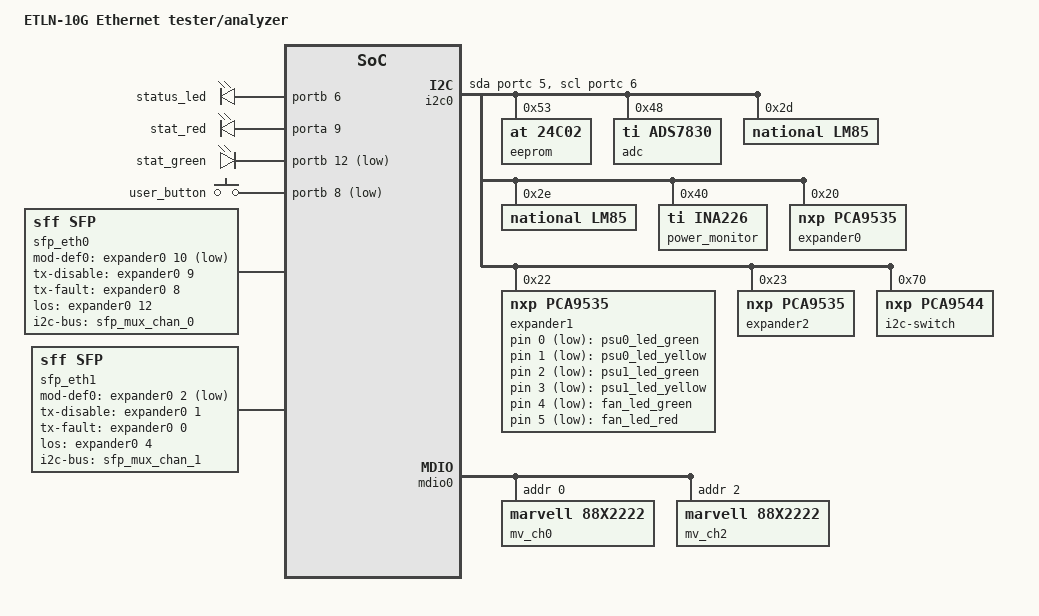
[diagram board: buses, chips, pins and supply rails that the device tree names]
/*
 * Copyright Altera Corporation (C) 2012,2014. All rights reserved.
 *
 * This program is free software; you can redistribute it and/or modify
 * it under the terms and conditions of the GNU General Public License,
 * version 2, as published by the Free Software Foundation.
 *
 * This program is distributed in the hope it will be useful, but WITHOUT
 * ANY WARRANTY; without even the implied warranty of MERCHANTABILITY or
 * FITNESS FOR A PARTICULAR PURPOSE.  See the GNU General Public License for
 * more details.
 *
 * You should have received a copy of the GNU General Public License along with
 * this program.  If not, see <http://www.gnu.org/licenses/>.
 */

#include "socfpga_cyclone5_stcmtk.dtsi"

/ {
	model = "ETLN-10G Ethernet tester/analyzer";

	cpu-gpio {
		compatible = "linux,gpio-exporter";
		status = "okay";
		exported-gpios = <&portb 19 GPIO_ACTIVE_HIGH>,
			<&portb 27 GPIO_ACTIVE_HIGH>,
			<&portb 22 GPIO_ACTIVE_HIGH>,
			<&portb 24 GPIO_ACTIVE_HIGH>;
		exported-gpio-names = "sfpp-pwr-en",
			"devinfo-eeprom-write-protect",
			"smbus-alert",
			"ext-power-alarm";
		exported-gpio-directions = "high",
			"high",
			"in",
			"in";
	};

	soc {
		ethernet@ff702000 {
			phy-mode = "rgmii-id";
		};

		i2c0: i2c@ffc04000 {
			scl-gpios = <&portc 6 GPIO_ACTIVE_HIGH>;
			sda-gpios = <&portc 5 GPIO_ACTIVE_HIGH>;

			eeprom@53 {
				compatible = "at,24c02";
				reg = <0x53>;
				status = "okay";
			};

			adc@48 {
				compatible = "ti,ads7830";
				reg = <0x48>;
				status = "okay";
			};

			lm85@2d {
				compatible = "national,lm85";
				reg = <0x2d>;
			};

			lm85@2e {
				compatible = "national,lm85";
				reg = <0x2e>;
			};

			power_monitor@40 {
				compatible = "ti,ina226";
				reg = <0x40>;
				shunt-resistor = <20000>;
			};

			expander0: pca9535@20 {
				compatible = "nxp,pca9535";
				gpio-controller;
				#gpio-cells = <2>;
				reg = <0x20>;
				pinctrl-names = "default";
				/*
				interrupt-parent = <&portb>;
				interrupts = <23 IRQ_TYPE_LEVEL_LOW>;
				interrupt-controller;
				#interrupt-cells = <2>;
				*/
			};

			expander1: pca9535@22 {
				compatible = "nxp,pca9535";
				gpio-controller;
				#gpio-cells = <2>;
				reg = <0x22>;
				pinctrl-names = "default";
			};

			expander2: pca9535@23 {
				compatible = "nxp,pca9535";
				gpio-controller;
				#gpio-cells = <2>;
				reg = <0x23>;
				pinctrl-names = "default";
			};

			i2c-switch@70 {
				compatible = "nxp,pca9544";
				#address-cells = <0x1>;
				#size-cells = <0x0>;
				reg = <0x70>;
				i2c-mux-idle-disconnect;

				/* The following two nodes describe I2C busses
				* located behind the MUX on channels 0 and 1
				* (indexed from 0).
				*/
				sfp_mux_chan_0: i2c@0 {
					#address-cells = <0x1>;
					#size-cells = <0x0>;
					reg = <0>;
				};

				sfp_mux_chan_1: i2c@1 {
					#address-cells = <0x1>;
					#size-cells = <0x0>;
					reg = <1>;
				};

				/* The following two nodes describe I2C mux
				* channels 2 and 3 (indexed from 0) that have
				* no devices connected to them.
				*
				* It would be great to disable them at all so
				* that they would not appear in sysfs but we
				* couldn't find an easy and obvious way to
				* achieve this.
				*/
				sfp_mux_chan_2: i2c@2 {
					#address-cells = <1>;
					#size-cells = <0>;
					reg = <2>;
				};
				sfp_mux_chan_3: i2c@3 {
					#address-cells = <1>;
					#size-cells = <0>;
					reg = <3>;
				};
			};

		};

		i2c1: i2c@ffc05000 {
			status = "disabled";
		};

		etn-port0 {
			compatible = "stcmtk,etln-10g";
			target-fpga = <&fpga>;
			port-num = <0>;
			phy-handle = <&mv_ch0>;
			phy-mode = "xaui";
			mac-address = [ 00 21 CE 01 00 01 ];
		};

		etn-port1 {
			compatible = "stcmtk,etln-10g";
			target-fpga = <&fpga>;
			port-num = <1>;
			phy-handle = <&mv_ch2>;
			phy-mode = "xaui";
			mac-address = [ 00 21 CE 01 00 02 ];
		};

		etn-phc@0 {
			reg = <0xc0020000 36>;
		};

		etn-phc@1 {
			reg = <0xc0020080 36>;
		};

		etn-phc-mux {
			reg = <0xc0020100 4>;
		};
	};

	expander1-leds {
		compatible = "gpio-leds";
		led0 {
			label = "psu0_led_green";
			gpios = <&expander1 0 GPIO_ACTIVE_LOW>;
			default-state = "off";
		};
		led1 {
			label = "psu0_led_yellow";
			gpios = <&expander1 1 GPIO_ACTIVE_LOW>;
			default-state = "off";
		};
		led2 {
			label = "psu1_led_green";
			gpios = <&expander1 2 GPIO_ACTIVE_LOW>;
			default-state = "off";
		};
		led3 {
			label = "psu1_led_yellow";
			gpios = <&expander1 3 GPIO_ACTIVE_LOW>;
			default-state = "off";
		};
		led4 {
			label = "fan_led_green";
			gpios = <&expander1 4 GPIO_ACTIVE_LOW>;
			default-state = "off";
		};
		led5 {
			label = "fan_led_red";
			gpios = <&expander1 5 GPIO_ACTIVE_LOW>;
			default-state = "off";
		};
	};

	expander1-gpio {
		compatible = "linux,gpio-exporter";
		status = "okay";
		exported-gpios = <&expander1 6 GPIO_ACTIVE_HIGH>,
				 <&expander1 7 GPIO_ACTIVE_HIGH>,
				 <&expander1 8 GPIO_ACTIVE_HIGH>,
				 <&expander1 9 GPIO_ACTIVE_HIGH>,
				 <&expander1 10 GPIO_ACTIVE_HIGH>,
				 <&expander1 11 GPIO_ACTIVE_HIGH>,
				 <&expander1 12 GPIO_ACTIVE_HIGH>,
				 <&expander1 13 GPIO_ACTIVE_HIGH>,
				 <&expander1 14 GPIO_ACTIVE_HIGH>,
				 <&expander1 15 GPIO_ACTIVE_HIGH>;
		exported-gpio-names = "bypass_off",
				      "bypass_switch_state",
				      "psu0_type",
				      "bypass_state",
				      "psu1_type",
				      "nfan_en",
				      "n2fans_en",
				      "nscap_en",
				      "n2psu_en",
				      "noptical_bypass_en";
		exported-gpio-directions = "high",
					   "in",
					   "in",
					   "in",
					   "in",
					   "in",
					   "in",
					   "in",
					   "in",
					   "in";
	};

	expander2-gpio {
		compatible = "linux,gpio-exporter";
		status = "okay";
		exported-gpios = <&expander2 0 GPIO_ACTIVE_HIGH>,
				 <&expander2 1 GPIO_ACTIVE_HIGH>,
				 <&expander2 2 GPIO_ACTIVE_HIGH>,
				 <&expander2 3 GPIO_ACTIVE_HIGH>,
				 <&expander2 4 GPIO_ACTIVE_HIGH>,
				 <&expander2 6 GPIO_ACTIVE_HIGH>,
				 <&expander2 7 GPIO_ACTIVE_HIGH>,
				 <&expander2 8 GPIO_ACTIVE_HIGH>,
				 <&expander2 9 GPIO_ACTIVE_HIGH>,
				 <&expander2 10 GPIO_ACTIVE_HIGH>,
				 <&expander2 15 GPIO_ACTIVE_HIGH>;
		exported-gpio-names = "charger_state",
				      "charger_pwr_ok",
				      "en_0",
				      "en_1",
				      "fan_panel_present",
				      "psu0_prio",
				      "psu1_prio",
				      "bypass_ctl2",
				      "bypass_ctl1",
				      "psu_1_on",
				      "psu_0_on";
		exported-gpio-directions = "in",
					   "in",
					   "in",
					   "in",
					   "in",
					   "in",
					   "in",
					   "in",
					   "in",
					   "in",
					   "in";
	};

	leds-hps {
		compatible = "gpio-leds";
		hps0 {
			label = "status_led";
			gpios = <&portb 6 0>;
			linux,default-trigger = "default-on";
		};
		hps1 {
			label = "stat_red";
			gpios = <&porta 9 0>;
			default-state = "off";
			linux,default-trigger = "none";
		};
		hps2 {
			label = "stat_green";
			gpios = <&portb 12 1>;
			default-state = "off";
			linux,default-trigger = "heartbeat";
		};
	};

	gpio_keys {
		compatible = "gpio-keys";
		user_button {
			label = "user_button";
			gpios = <&portb 8 GPIO_ACTIVE_LOW>;
			linux,code = <2>;
			gpio-key,wakeup;
		};
	};

	sfp_eth0: sfp-eth0 {
		compatible = "sff,sfp";
		i2c-bus = <&sfp_mux_chan_0>;
		pinctrl-names = "default";
		mod-def0-gpios = <&expander0 10 GPIO_ACTIVE_LOW>;
		tx-disable-gpios = <&expander0 9 GPIO_ACTIVE_HIGH>;
		tx-fault-gpios  = <&expander0 8 GPIO_ACTIVE_HIGH>;
		los-gpios = <&expander0 12 GPIO_ACTIVE_HIGH>;
	};

	sfp_eth1: sfp-eth1 {
		compatible = "sff,sfp";
		i2c-bus = <&sfp_mux_chan_1>;
		pinctrl-names = "default";
		mod-def0-gpios = <&expander0 2 GPIO_ACTIVE_LOW>;
		tx-disable-gpios = <&expander0 1 GPIO_ACTIVE_HIGH>;
		tx-fault-gpios  = <&expander0 0 GPIO_ACTIVE_HIGH>;
		los-gpios = <&expander0 4 GPIO_ACTIVE_HIGH>;
	};

	mdio0: mdio-0 {
		compatible = "stcmtk,et-10g-mdio";
		target-fpga = <&fpga>;
		#address-cells = <1>;
		#size-cells = <0>;
		status = "okay";

		mv_ch0:88X2222@0 {
			compatible = "marvell,88x2222", "ethernet-phy-ieee802.3-c45";
			reg = <0x0>;
			phy-mode = "xgmii";
			mv,line-mode = "KR";
			mv,host-mode = "KX4";
			sfp = <&sfp_eth0>;
			status = "okay";
		};

		mv_ch1:88X2222@1 {
			compatible = "marvell,88x2222", "ethernet-phy-ieee802.3-c45";
			reg = <0x1>;
			phy-mode = "xgmii";
			mv,line-mode = "KR";
			mv,host-mode = "KX4";
			status = "disabled";
		};

		mv_ch2:88X2222@2 {
			compatible = "marvell,88x2222", "ethernet-phy-ieee802.3-c45";
			reg = <0x2>;
			phy-mode = "xgmii";
			mv,line-mode = "KR";
			mv,host-mode = "KX4";
			sfp = <&sfp_eth1>;
			status = "okay";
		};

		mv_ch3:88X2222@3 {
			compatible = "marvell,88x2222", "ethernet-phy-ieee802.3-c45";
			reg = <0x3>;
			phy-mode = "xgmii";
			mv,line-mode = "KR";
			mv,host-mode = "KX4";
			status = "disabled";
		};

	};
};
